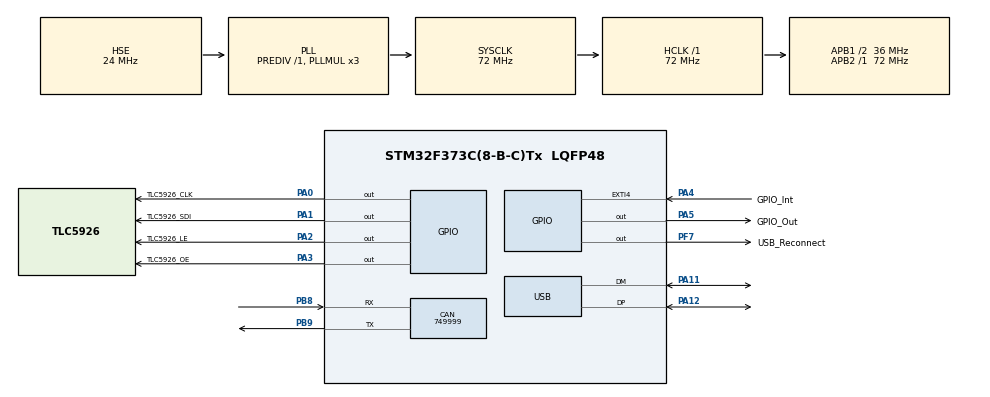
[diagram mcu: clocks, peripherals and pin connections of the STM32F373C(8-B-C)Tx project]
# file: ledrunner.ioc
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CAN.BS1=CAN_BS1_1TQ
CAN.BS2=CAN_BS2_1TQ
CAN.CalculateBaudRate=749999
CAN.CalculateTimeBit=1333
CAN.CalculateTimeQuantum=444.44444444444446
Mcu.Family=STM32F3
Mcu.Name=STM32F373C(8-B-C)Tx
Mcu.Package=LQFP48
NVIC.EXTI4_IRQn=true\:0\:0\:false\:false\:true\:true\:true\:true
NVIC.PriorityGroup=NVIC_PRIORITYGROUP_4
NVIC.TIM2_IRQn=true\:0\:0\:true\:false\:true\:true\:true\:true
NVIC.USB_HP_IRQn=true\:5\:0\:true\:false\:true\:true\:true\:true
NVIC.USB_LP_IRQn=true\:5\:0\:true\:false\:true\:false\:true\:true
PA0.GPIO_Label=TLC5926_CLK
PA0.GPIO_Speed=GPIO_SPEED_FREQ_HIGH
PA0.Signal=GPIO_Output
PA1.GPIO_Label=TLC5926_SDI
PA1.GPIO_Speed=GPIO_SPEED_FREQ_HIGH
PA1.Signal=GPIO_Output
PA11.GPIO_PuPd=GPIO_NOPULL
PA11.Mode=Device
PA11.Signal=USB_DM
PA12.GPIO_PuPd=GPIO_PULLUP
PA12.Mode=Device
PA12.Signal=USB_DP
PA13.Mode=Serial_Wire
PA13.Signal=SYS_JTMS-SWDIO
PA14.Mode=Serial_Wire
PA14.Signal=SYS_JTCK-SWCLK
PA2.GPIO_Label=TLC5926_LE
PA2.GPIO_Speed=GPIO_SPEED_FREQ_HIGH
PA2.Signal=GPIO_Output
PA3.GPIO_Label=TLC5926_OE
PA3.GPIO_Speed=GPIO_SPEED_FREQ_HIGH
PA3.Signal=GPIO_Output
PA4.GPIO_Label=GPIO_Int
PA4.Signal=GPXTI4
PA5.GPIO_Label=GPIO_Out
PA5.Signal=GPIO_Output
PB8.Mode=CAN_Activate
PB8.Signal=CAN_RX
PB9.Mode=CAN_Activate
PB9.Signal=CAN_TX
PF0-OSC_IN.Mode=HSE-External-Oscillator
PF0-OSC_IN.Signal=RCC_OSC_IN
PF1-OSC_OUT.Mode=HSE-External-Oscillator
PF1-OSC_OUT.Signal=RCC_OSC_OUT
PF7.GPIO_Label=USB_Reconnect
PF7.GPIO_ModeDefaultOutputPP=GPIO_MODE_OUTPUT_OD
PF7.GPIO_PuPd=GPIO_NOPULL
PF7.PinState=GPIO_PIN_RESET
PF7.Signal=GPIO_Output
ProjectManager.HeapSize=0x1000
ProjectManager.StackSize=0x400
ProjectManager.TargetToolchain=STM32CubeIDE
RCC.AHBFreq_Value=72000000
RCC.APB1CLKDivider=RCC_HCLK_DIV2
RCC.APB1Freq_Value=36000000
RCC.APB1TimFreq_Value=72000000
RCC.APB2Freq_Value=72000000
RCC.APB2TimFreq_Value=72000000
RCC.CortexFreq_Value=72000000
RCC.HCLKFreq_Value=72000000
RCC.HSE_VALUE=24000000
RCC.HSI_VALUE=8000000
RCC.LSE_VALUE=32768
RCC.PLLMUL=RCC_PLL_MUL3
RCC.PRESCALERUSB=RCC_USBCLKSOURCE_PLL_DIV1_5
RCC.SYSCLKFreq_VALUE=72000000
RCC.SYSCLKSource=RCC_SYSCLKSOURCE_PLLCLK
RCC.USBFreq_Value=48000000
TIM2.AutoReloadPreload=TIM_AUTORELOAD_PRELOAD_DISABLE
USB_DEVICE.CLASS_NAME_FS=CDC
USB_DEVICE.MANUFACTURER_STRING=Raphael Seitz
USB_DEVICE.VirtualMode=Cdc
USB_DEVICE.VirtualModeFS=Cdc_FS
VP_TIM2_VS_ClockSourceINT.Mode=Internal
VP_USB_DEVICE_VS_USB_DEVICE_CDC_FS.Mode=CDC_FS
board=custom

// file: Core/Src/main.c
/* USER CODE BEGIN Header */
/**
  ******************************************************************************
  * @file           : main.c
  * @brief          : Main program body
  ******************************************************************************
  * @attention
  *
  * Copyright (c) 2024 STMicroelectronics.
  * All rights reserved.
  *
  * This software is licensed under terms that can be found in the LICENSE file
  * in the root directory of this software component.
  * If no LICENSE file comes with this software, it is provided AS-IS.
  *
  ******************************************************************************
  */
/* USER CODE END Header */
#include "main.h"
#include "usb_device.h"

/* USER CODE BEGIN Includes */
#include <stdbool.h>
#include "usbd_cdc_if.h"
#include "usbd_cdc.h"

#include "tlc.h"
#include "timer_estimator.h"
#include "cli.h"
#include "auto_mode.h"

/* USER CODE END Includes */

/* USER CODE BEGIN PTD */
/*#define MAX_LED 	16
extern bool led_data[MAX_LED];
extern int led_pwm;
extern int led_pwm_active;*/

extern USBD_HandleTypeDef hUsbDeviceFS;
extern size_t cdc_rx_buf_len;
extern char cdc_rx_buf[64];

/* USER CODE END PTD */

CAN_HandleTypeDef hcan;

TIM_HandleTypeDef htim2;

void SystemClock_Config(void);
static void MX_GPIO_Init(void);
static void MX_TIM2_Init(void);
static void MX_CAN_Init(void);

/* USER CODE BEGIN 0 */

void main_exchange(bool set, Tlc *tlc, AutoMode *auto_mode)
{
	static Tlc *tlc_stored;
	static AutoMode *auto_mode_stored;
	if(set) {
		tlc_stored = tlc;
		auto_mode_stored = auto_mode;
	} else {
		*tlc = *tlc_stored;
		*auto_mode = *auto_mode_stored;
	}
}

/* USER CODE END 0 */

int main(void)
{

  /* MCU Configuration--------------------------------------------------------*/

  /* Reset of all peripherals, Initializes the Flash interface and the Systick. */
  HAL_Init();

  /* Configure the system clock */
  SystemClock_Config();

  /* Initialize all configured peripherals */
  MX_GPIO_Init();
  MX_TIM2_Init();
  MX_CAN_Init();
  MX_USB_DEVICE_Init();
  /* USER CODE BEGIN 2 */

  //USBD_Clock_Config()

  //TIM2->CCR1 = 0;
  //HAL_TIM_PWM_Start(&htim2, TIM_CHANNEL_1);
  //HAL_UART_Receive_IT(&huart2, UART2_RxBuffer, 1); 	// somehow is required to start HAL_UART_RxCpltCallback

  /* tlc enters normal mode on startup by default */
  //HAL_GPIO_WritePin(TLC5926_CLK_GPIO_Port, TLC5926_CLK_Pin, GPIO_PIN_SET);
  //HAL_GPIO_WritePin(TLC5926_LE_GPIO_Port, TLC5926_LE_Pin, GPIO_PIN_SET); /* high LE = transfer to latch */
  HAL_GPIO_WritePin(TLC5926_OE_GPIO_Port, TLC5926_OE_Pin, GPIO_PIN_RESET); /* low OE = drive LEDs */
  HAL_GPIO_WritePin(TLC5926_SDI_GPIO_Port, TLC5926_SDI_Pin, GPIO_PIN_SET);

  HAL_Delay(200);
  HAL_GPIO_WritePin(USB_Reconnect_GPIO_Port, USB_Reconnect_Pin, GPIO_PIN_SET);

  //HAL_GPIO_WritePin(GPIOA, GPIO_PIN_12, GPIO_PIN_SET);
  //HAL_GPIO_WritePin(GPIOA, GPIO_PIN_12, GPIO_PIN_RESET);

  //HAL_Delay(500);

  /*
   * configure
   * 	arr		auto reload (=VAL =auto)
   * 	psc		prescaler (=VAL =auto)
   *	fps		target fps =VAL
   * 	can-bus
   * 	int-in	(=COMMAND)
   * 	int-out
   *
   * info
   * 	version
   * 	clock-freq
   * 	arr
   * 	psc
   * 	fps
   *	can-bus		list connected...
   *
   */

  Tlc tlc = {0};
  tlc_init(&tlc, TIM2, &htim2);

  AutoMode auto_mode = {0};

  Cli cli = {0};
  cli_init(&cli, &tlc, &auto_mode);

  main_exchange(true, &tlc, &cli);

  tlc_set_fps(&tlc, 60.0f);

#if 0
  TimerEstimator est = {0};
  uint32_t iter = timer_estimate(&est, 72000000, 1920);

  TIM2->PSC = 9; //(32)*base_MHZ_reciproc - 1; // 31(+1) => 1MHz counter
  TIM2->ARR = 1747; // !!! ARR @8MHz for -WHATEVER REASON- min=117 (regardless of PSC) !!!
  TIM2->CCR1 = TIM2->ARR/2;
#endif

  /* TEST for pwm */
#if 0
  TIM2->PSC = 0;
  TIM2->ARR = 150;
  TIM2->CCR1 = TIM2->ARR/2;

  tlc.running = true;
  HAL_TIM_PWM_Start(&htim2, TIM_CHANNEL_1);
  HAL_TIM_Base_Start_IT(&htim2);
#endif
  //HAL_TIM_Base_Start(&htim2);

#if 0
  int usbd_result = 0;
  do {
	  usbd_result = USBD_CDC_SetTxBuffer(&hUsbDeviceFS, "Hello\n\r", 7);
  } while(usbd_result != USBD_OK);
#endif

#if 0
  bool data[16] = {1, 1, 0, 1,
				   0, 0, 1, 0,
				   0, 0, 1, 1,
				   1, 1, 0, 1};

  tlc_set_fps(&tlc, 1.0);
  tlc_mode(&tlc, TLC_MODE_PWM);
  //memcpy(tlc.display.data, data, 16);
  tlc_run(&tlc, true);
#endif

  /* USER CODE END 2 */

  /* Infinite loop */
  /* USER CODE BEGIN WHILE */
  while (1)
  {
	  //HAL_Delay(1000);
	  //*tlc.pwm.duty_cycle += 1;
	  //if(*tlc.pwm.duty_cycle > 16) *tlc.pwm.duty_cycle = 0;

	  if(cdc_rx_buf_len) {
		  while(CDC_Transmit_FS(cdc_rx_buf, cdc_rx_buf_len) == USBD_BUSY) {};
		  //while(CDC_Transmit_FS(CSTR("\r\nFeed..\r\n")) == USBD_BUSY) {};
		  cli_feed(&cli, cdc_rx_buf, cdc_rx_buf_len);	 // TODO:RETVAL
		  //while(CDC_Transmit_FS(CSTR("Parse..\r\n")) == USBD_BUSY) {};
		  cli_parse(&cli);	// TODO:RETVAL
		  cli_process(&cli);
		  cdc_rx_buf_len = 0;
	  }
	  auto_mode_process(&auto_mode, &tlc);

#if 0
	  uint32_t tick = HAL_GetTick();
	  if(tick >= 1250) {
		  //USBD_CDC_SetTxBuffer(&hUsbDeviceFS, "Hello\n\r", 7);
		  led_pwm = -1;
		  HAL_GPIO_WritePin(TLC5926_LE_GPIO_Port, TLC5926_LE_Pin, GPIO_PIN_SET); /* high LE = transfer to latch */
		  //USBD_CDC_SetTxBuffer(&hUsbDeviceFS, "Hello\n\r", 7);
		  //USBD_CDC_TransmitPacket(&hUsbDeviceFS);
		  //HAL_Delay(1000);
	  } else if(tick >= 1000) {
		  for(int i = 0; i < MAX_LED; ++i) {
			  bool val = ((TIM2->ARR>>i)&1);
			  led_data[i] = val;
		  }
		  led_pwm = 0;
	  } else if(tick >= 750) {
		  for(int i = 0; i < MAX_LED; ++i) {
			  bool val = ((TIM2->PSC>>i)&1);
			  led_data[i] = val;
		  }
		  led_pwm = 0;
	  } else if(tick >= 500) {
		  for(int i = 0; i < MAX_LED; ++i) {
			  bool val = ((72>>i)&1);
			  led_data[i] = val;
		  }
		  led_pwm = 0;
	  } else if(tick >= 250) {
		  for(int i = 0; i < MAX_LED; ++i) {
			  bool val = ((3>>i)&1);
			  led_data[i] = val;
		  }
		  led_pwm = 0;
	  } else {
		  for(int i = 0; i < MAX_LED; ++i) {
			  bool val = 1;
			  led_data[i] = val;
		  }
		  led_pwm = 0;
	  }
#endif
    /* USER CODE END WHILE */

  }
}

void SystemClock_Config(void)
{
  RCC_OscInitTypeDef RCC_OscInitStruct = {0};
  RCC_ClkInitTypeDef RCC_ClkInitStruct = {0};
  RCC_PeriphCLKInitTypeDef PeriphClkInit = {0};

  /** Initializes the RCC Oscillators according to the specified parameters
  * in the RCC_OscInitTypeDef structure.
  */
  RCC_OscInitStruct.OscillatorType = RCC_OSCILLATORTYPE_HSE;
  RCC_OscInitStruct.HSEState = RCC_HSE_ON;
  RCC_OscInitStruct.HSEPredivValue = RCC_HSE_PREDIV_DIV1;
  RCC_OscInitStruct.HSIState = RCC_HSI_ON;
  RCC_OscInitStruct.PLL.PLLState = RCC_PLL_ON;
  RCC_OscInitStruct.PLL.PLLSource = RCC_PLLSOURCE_HSE;
  RCC_OscInitStruct.PLL.PLLMUL = RCC_PLL_MUL3;
  if (HAL_RCC_OscConfig(&RCC_OscInitStruct) != HAL_OK)
  {
    Error_Handler();
  }

  /** Initializes the CPU, AHB and APB buses clocks
  */
  RCC_ClkInitStruct.ClockType = RCC_CLOCKTYPE_HCLK|RCC_CLOCKTYPE_SYSCLK
                              |RCC_CLOCKTYPE_PCLK1|RCC_CLOCKTYPE_PCLK2;
  RCC_ClkInitStruct.SYSCLKSource = RCC_SYSCLKSOURCE_PLLCLK;
  RCC_ClkInitStruct.AHBCLKDivider = RCC_SYSCLK_DIV1;
  RCC_ClkInitStruct.APB1CLKDivider = RCC_HCLK_DIV2;
  RCC_ClkInitStruct.APB2CLKDivider = RCC_HCLK_DIV1;

  if (HAL_RCC_ClockConfig(&RCC_ClkInitStruct, FLASH_LATENCY_2) != HAL_OK)
  {
    Error_Handler();
  }
  PeriphClkInit.PeriphClockSelection = RCC_PERIPHCLK_USB;
  PeriphClkInit.USBClockSelection = RCC_USBCLKSOURCE_PLL_DIV1_5;
  if (HAL_RCCEx_PeriphCLKConfig(&PeriphClkInit) != HAL_OK)
  {
    Error_Handler();
  }
}

static void MX_CAN_Init(void)
{

  hcan.Instance = CAN;
  hcan.Init.Prescaler = 16;
  hcan.Init.Mode = CAN_MODE_NORMAL;
  hcan.Init.SyncJumpWidth = CAN_SJW_1TQ;
  hcan.Init.TimeSeg1 = CAN_BS1_1TQ;
  hcan.Init.TimeSeg2 = CAN_BS2_1TQ;
  hcan.Init.TimeTriggeredMode = DISABLE;
  hcan.Init.AutoBusOff = DISABLE;
  hcan.Init.AutoWakeUp = DISABLE;
  hcan.Init.AutoRetransmission = DISABLE;
  hcan.Init.ReceiveFifoLocked = DISABLE;
  hcan.Init.TransmitFifoPriority = DISABLE;
  if (HAL_CAN_Init(&hcan) != HAL_OK)
  {
    Error_Handler();
  }

}

static void MX_TIM2_Init(void)
{

  TIM_ClockConfigTypeDef sClockSourceConfig = {0};
  TIM_MasterConfigTypeDef sMasterConfig = {0};

  htim2.Instance = TIM2;
  htim2.Init.Prescaler = 0;
  htim2.Init.CounterMode = TIM_COUNTERMODE_UP;
  htim2.Init.Period = 4294967295;
  htim2.Init.ClockDivision = TIM_CLOCKDIVISION_DIV1;
  htim2.Init.AutoReloadPreload = TIM_AUTORELOAD_PRELOAD_DISABLE;
  if (HAL_TIM_Base_Init(&htim2) != HAL_OK)
  {
    Error_Handler();
  }
  sClockSourceConfig.ClockSource = TIM_CLOCKSOURCE_INTERNAL;
  if (HAL_TIM_ConfigClockSource(&htim2, &sClockSourceConfig) != HAL_OK)
  {
    Error_Handler();
  }
  sMasterConfig.MasterOutputTrigger = TIM_TRGO_RESET;
  sMasterConfig.MasterSlaveMode = TIM_MASTERSLAVEMODE_DISABLE;
  if (HAL_TIMEx_MasterConfigSynchronization(&htim2, &sMasterConfig) != HAL_OK)
  {
    Error_Handler();
  }

}

static void MX_GPIO_Init(void)
{
  GPIO_InitTypeDef GPIO_InitStruct = {0};

  /* GPIO Ports Clock Enable */
  __HAL_RCC_GPIOF_CLK_ENABLE();
  __HAL_RCC_GPIOA_CLK_ENABLE();
  __HAL_RCC_GPIOB_CLK_ENABLE();

  /*Configure GPIO pin Output Level */
  HAL_GPIO_WritePin(GPIOA, TLC5926_CLK_Pin|TLC5926_SDI_Pin|TLC5926_LE_Pin|TLC5926_OE_Pin
                          |GPIO_Out_Pin, GPIO_PIN_RESET);

  /*Configure GPIO pin Output Level */
  HAL_GPIO_WritePin(USB_Reconnect_GPIO_Port, USB_Reconnect_Pin, GPIO_PIN_RESET);

  /*Configure GPIO pins : TLC5926_CLK_Pin TLC5926_SDI_Pin TLC5926_LE_Pin TLC5926_OE_Pin */
  GPIO_InitStruct.Pin = TLC5926_CLK_Pin|TLC5926_SDI_Pin|TLC5926_LE_Pin|TLC5926_OE_Pin;
  GPIO_InitStruct.Mode = GPIO_MODE_OUTPUT_PP;
  GPIO_InitStruct.Pull = GPIO_NOPULL;
  GPIO_InitStruct.Speed = GPIO_SPEED_FREQ_HIGH;
  HAL_GPIO_Init(GPIOA, &GPIO_InitStruct);

  /*Configure GPIO pin : GPIO_Int_Pin */
  GPIO_InitStruct.Pin = GPIO_Int_Pin;
  GPIO_InitStruct.Mode = GPIO_MODE_IT_RISING;
  GPIO_InitStruct.Pull = GPIO_NOPULL;
  HAL_GPIO_Init(GPIO_Int_GPIO_Port, &GPIO_InitStruct);

  /*Configure GPIO pin : GPIO_Out_Pin */
  GPIO_InitStruct.Pin = GPIO_Out_Pin;
  GPIO_InitStruct.Mode = GPIO_MODE_OUTPUT_PP;
  GPIO_InitStruct.Pull = GPIO_NOPULL;
  GPIO_InitStruct.Speed = GPIO_SPEED_FREQ_LOW;
  HAL_GPIO_Init(GPIO_Out_GPIO_Port, &GPIO_InitStruct);

  /*Configure GPIO pin : USB_Reconnect_Pin */
  GPIO_InitStruct.Pin = USB_Reconnect_Pin;
  GPIO_InitStruct.Mode = GPIO_MODE_OUTPUT_OD;
  GPIO_InitStruct.Pull = GPIO_NOPULL;
  GPIO_InitStruct.Speed = GPIO_SPEED_FREQ_LOW;
  HAL_GPIO_Init(USB_Reconnect_GPIO_Port, &GPIO_InitStruct);

  /* EXTI interrupt init*/
  HAL_NVIC_SetPriority(EXTI4_IRQn, 0, 0);
  HAL_NVIC_EnableIRQ(EXTI4_IRQn);

}

void Error_Handler(void)
{
  __disable_irq();
  while (1)
  {
  }
}
